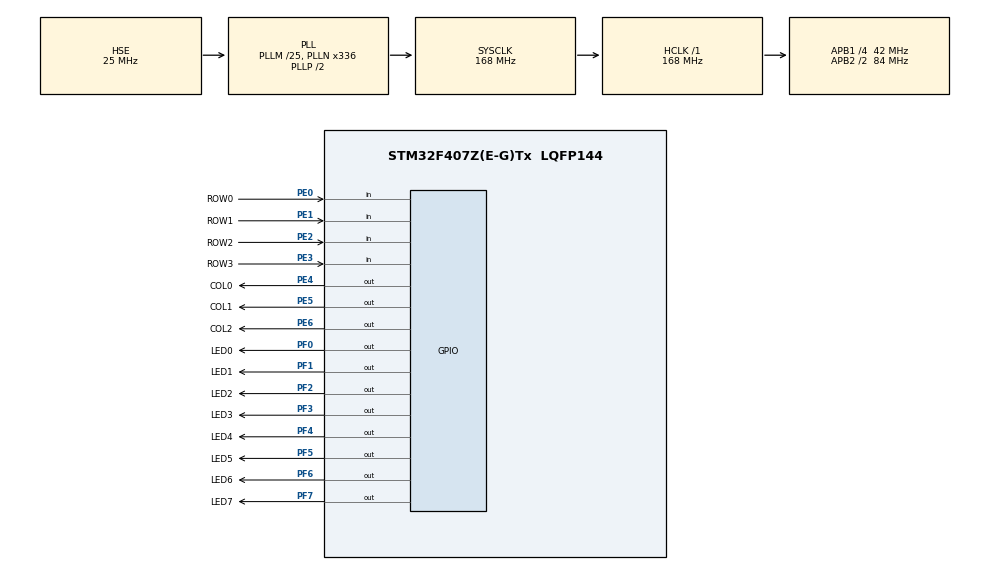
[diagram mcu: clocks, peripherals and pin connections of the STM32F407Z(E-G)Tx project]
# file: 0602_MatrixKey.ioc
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Mcu.Family=STM32F4
Mcu.Name=STM32F407Z(E-G)Tx
Mcu.Package=LQFP144
NVIC.PriorityGroup=NVIC_PRIORITYGROUP_4
PA13.Mode=Serial_Wire
PA13.Signal=SYS_JTMS-SWDIO
PA14.Mode=Serial_Wire
PA14.Signal=SYS_JTCK-SWCLK
PE0.GPIO_Label=ROW0
PE0.GPIO_PuPd=GPIO_PULLUP
PE0.Signal=GPIO_Input
PE1.GPIO_Label=ROW1
PE1.GPIO_PuPd=GPIO_PULLUP
PE1.Signal=GPIO_Input
PE2.GPIO_Label=ROW2
PE2.GPIO_PuPd=GPIO_PULLUP
PE2.Signal=GPIO_Input
PE3.GPIO_Label=ROW3
PE3.GPIO_PuPd=GPIO_PULLUP
PE3.Signal=GPIO_Input
PE4.GPIO_Label=COL0
PE4.PinState=GPIO_PIN_SET
PE4.Signal=GPIO_Output
PE5.GPIO_Label=COL1
PE5.PinState=GPIO_PIN_SET
PE5.Signal=GPIO_Output
PE6.GPIO_Label=COL2
PE6.PinState=GPIO_PIN_SET
PE6.Signal=GPIO_Output
PF0.GPIO_Label=LED0
PF0.PinState=GPIO_PIN_SET
PF0.Signal=GPIO_Output
PF1.GPIO_Label=LED1
PF1.PinState=GPIO_PIN_SET
PF1.Signal=GPIO_Output
PF2.GPIO_Label=LED2
PF2.PinState=GPIO_PIN_SET
PF2.Signal=GPIO_Output
PF3.GPIO_Label=LED3
PF3.PinState=GPIO_PIN_SET
PF3.Signal=GPIO_Output
PF4.GPIO_Label=LED4
PF4.PinState=GPIO_PIN_SET
PF4.Signal=GPIO_Output
PF5.GPIO_Label=LED5
PF5.PinState=GPIO_PIN_SET
PF5.Signal=GPIO_Output
PF6.GPIO_Label=LED6
PF6.PinState=GPIO_PIN_SET
PF6.Signal=GPIO_Output
PF7.GPIO_Label=LED7
PF7.PinState=GPIO_PIN_SET
PF7.Signal=GPIO_Output
PH0-OSC_IN.Mode=HSE-External-Oscillator
PH0-OSC_IN.Signal=RCC_OSC_IN
PH1-OSC_OUT.Mode=HSE-External-Oscillator
PH1-OSC_OUT.Signal=RCC_OSC_OUT
ProjectManager.HeapSize=0x200
ProjectManager.StackSize=0x400
ProjectManager.TargetToolchain=MDK-ARM V5.32
RCC.48MHZClocksFreq_Value=84000000
RCC.AHBFreq_Value=168000000
RCC.APB1CLKDivider=RCC_HCLK_DIV4
RCC.APB1Freq_Value=42000000
RCC.APB1TimFreq_Value=84000000
RCC.APB2CLKDivider=RCC_HCLK_DIV2
RCC.APB2Freq_Value=84000000
RCC.APB2TimFreq_Value=168000000
RCC.CortexFreq_Value=168000000
RCC.HCLKFreq_Value=168000000
RCC.HSE_VALUE=25000000
RCC.HSI_VALUE=16000000
RCC.LSE_VALUE=32768
RCC.PLLM=25
RCC.PLLN=336
RCC.PLLSourceVirtual=RCC_PLLSOURCE_HSE
RCC.SYSCLKFreq_VALUE=168000000
RCC.SYSCLKSource=RCC_SYSCLKSOURCE_PLLCLK
RCC.VCOOutputFreq_Value=336000000
board=custom

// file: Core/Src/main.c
/* USER CODE BEGIN Header */
/**
  ******************************************************************************
  * @file           : main.c
  * @brief          : Main program body
  ******************************************************************************
  * @attention
  *
  * Copyright (c) 2026 STMicroelectronics.
  * All rights reserved.
  *
  * This software is licensed under terms that can be found in the LICENSE file
  * in the root directory of this software component.
  * If no LICENSE file comes with this software, it is provided AS-IS.
  *
  ******************************************************************************
  */
/* USER CODE END Header */
#include "main.h"
#include "gpio.h"

/* USER CODE BEGIN PV */
uint16_t i, KeyVal = 0;
uint8_t PreLine[3] = {2, 0, 1};
/* USER CODE END PV */

void SystemClock_Config(void);

int main(void)
{

  /* MCU Configuration--------------------------------------------------------*/

  /* Reset of all peripherals, Initializes the Flash interface and the Systick. */
  HAL_Init();

  /* Configure the system clock */
  SystemClock_Config();

  /* Initialize all configured peripherals */
  MX_GPIO_Init();

  /* Infinite loop */
  /* USER CODE BEGIN WHILE */
  while (1)
  {
    for(i = 0; i < 3; i++)
    {
        HAL_GPIO_WritePin(GPIOE, COL0_Pin | COL1_Pin | COL2_Pin, GPIO_PIN_SET);
        if(i == 0) HAL_GPIO_WritePin(GPIOE, COL0_Pin, GPIO_PIN_RESET);
        if(i == 1) HAL_GPIO_WritePin(GPIOE, COL1_Pin, GPIO_PIN_RESET);
        if(i == 2) HAL_GPIO_WritePin(GPIOE, COL2_Pin, GPIO_PIN_RESET);

        HAL_Delay(1);
        if((GPIOE->IDR & 0x000F) != 0x000F)
        {
            HAL_Delay(20);

            if((GPIOE->IDR & 0x000F) != 0x000F)
            {
                switch((GPIOE->IDR & 0x000F))
                {
                    case 0x0E: KeyVal = 4 * PreLine[i] + 1; break;
                    case 0x0D: KeyVal = 4 * PreLine[i] + 2; break;
                    case 0x0B: KeyVal = 4 * PreLine[i] + 3; break;
                    case 0x07: KeyVal = 4 * PreLine[i] + 4; break;
                    default: break;
                }

                while((GPIOE->IDR & 0x000F) != 0x000F);

                GPIOF->ODR = ~KeyVal;

                HAL_Delay(500);
                GPIOF->ODR = 0xFFFF;
                KeyVal = 0;
            }
        }
    }
    /* USER CODE END WHILE */
    /* USER CODE END WHILE */

  }
}

void SystemClock_Config(void)
{
  RCC_OscInitTypeDef RCC_OscInitStruct = {0};
  RCC_ClkInitTypeDef RCC_ClkInitStruct = {0};

  /** Configure the main internal regulator output voltage
  */
  __HAL_RCC_PWR_CLK_ENABLE();
  __HAL_PWR_VOLTAGESCALING_CONFIG(PWR_REGULATOR_VOLTAGE_SCALE1);

  /** Initializes the RCC Oscillators according to the specified parameters
  * in the RCC_OscInitTypeDef structure.
  */
  RCC_OscInitStruct.OscillatorType = RCC_OSCILLATORTYPE_HSE;
  RCC_OscInitStruct.HSEState = RCC_HSE_ON;
  RCC_OscInitStruct.PLL.PLLState = RCC_PLL_ON;
  RCC_OscInitStruct.PLL.PLLSource = RCC_PLLSOURCE_HSE;
  RCC_OscInitStruct.PLL.PLLM = 25;
  RCC_OscInitStruct.PLL.PLLN = 336;
  RCC_OscInitStruct.PLL.PLLP = RCC_PLLP_DIV2;
  RCC_OscInitStruct.PLL.PLLQ = 4;
  if (HAL_RCC_OscConfig(&RCC_OscInitStruct) != HAL_OK)
  {
    Error_Handler();
  }

  /** Initializes the CPU, AHB and APB buses clocks
  */
  RCC_ClkInitStruct.ClockType = RCC_CLOCKTYPE_HCLK|RCC_CLOCKTYPE_SYSCLK
                              |RCC_CLOCKTYPE_PCLK1|RCC_CLOCKTYPE_PCLK2;
  RCC_ClkInitStruct.SYSCLKSource = RCC_SYSCLKSOURCE_PLLCLK;
  RCC_ClkInitStruct.AHBCLKDivider = RCC_SYSCLK_DIV1;
  RCC_ClkInitStruct.APB1CLKDivider = RCC_HCLK_DIV4;
  RCC_ClkInitStruct.APB2CLKDivider = RCC_HCLK_DIV2;

  if (HAL_RCC_ClockConfig(&RCC_ClkInitStruct, FLASH_LATENCY_5) != HAL_OK)
  {
    Error_Handler();
  }
}

void Error_Handler(void)
{
  __disable_irq();
  while (1)
  {
  }
}
